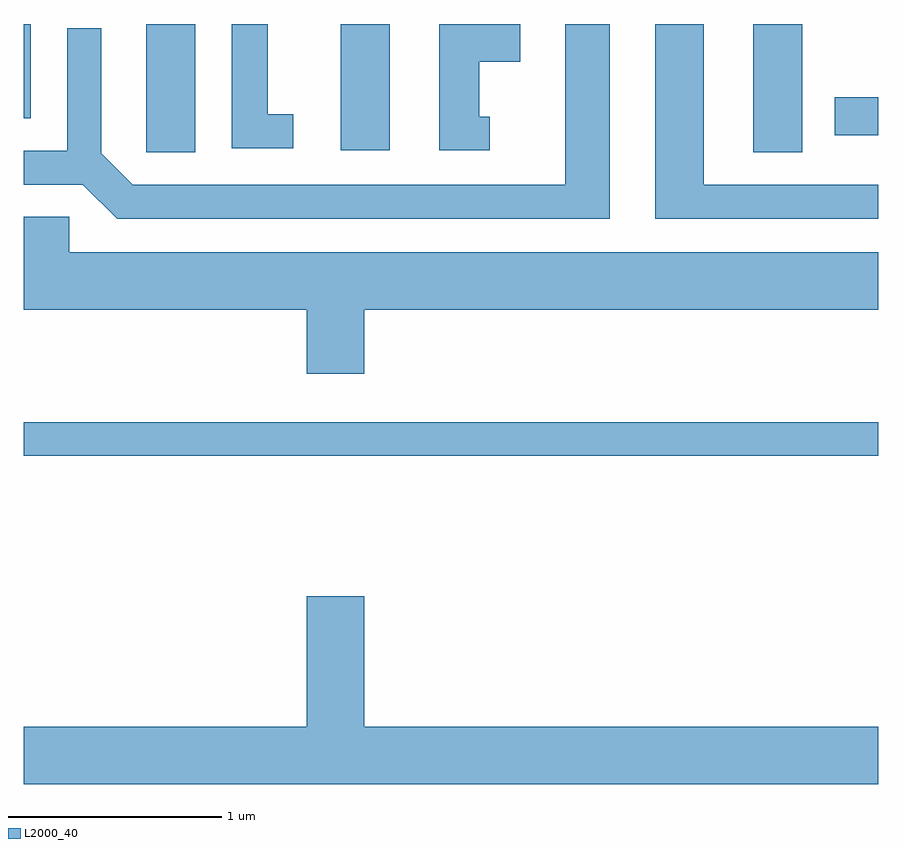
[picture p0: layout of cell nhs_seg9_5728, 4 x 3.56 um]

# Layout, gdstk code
import gdstk
lib = gdstk.Library(unit=1e-6, precision=1e-09)
def R(c, l, rs):  # rectangles x0, y0, x1, y1
    for r in rs: c.add(gdstk.rectangle(r[:2], r[2:], *l))
def P(c, l, *ps):  # polygons
    for p in ps: c.add(gdstk.Polygon(p, *l))
L2000_40 = (2000, 40)

nhs_seg9_5728 = lib.new_cell('nhs_seg9_5728')
R(nhs_seg9_5728, L2000_40, [(353.611,2044.411,357.611,2044.569), (354.186,2045.831,354.414,2046.432), (357.026,2045.831,357.254,2046.432), (355.096,2045.841,355.324,2046.432), (357.406,2045.911,357.611,2046.089), (353.611,2045.991,353.644,2046.432)])
P(nhs_seg9_5728, L2000_40, [(356.354,2046.432),(356.146,2046.432),(356.146,2045.679),(354.122,2045.679),(353.974,2045.827),(353.974,2046.413),(353.816,2046.413),(353.816,2045.839),(353.611,2045.839),(353.611,2045.681),(353.889,2045.681),(354.049,2045.521),(356.354,2045.521)],
  [(354.873,2046.009),(354.754,2046.009),(354.754,2046.432),(354.586,2046.432),(354.586,2045.851),(354.873,2045.851)],
  [(357.611,2045.679),(356.794,2045.679),(356.794,2046.432),(356.566,2046.432),(356.566,2045.521),(357.611,2045.521)],
  [(355.793,2045.999),(355.744,2045.999),(355.744,2046.256),(355.934,2046.256),(355.934,2046.432),(355.556,2046.432),(355.556,2045.841),(355.793,2045.841)],
  [(355.204,2045.096),(357.611,2045.096),(357.611,2045.364),(353.824,2045.364),(353.824,2045.529),(353.611,2045.529),(353.611,2045.096),(354.936,2045.096),(354.936,2044.796),(355.204,2044.796)],
  [(357.611,2043.144),(355.204,2043.144),(355.204,2043.754),(354.936,2043.754),(354.936,2043.144),(353.611,2043.144),(353.611,2042.876),(357.611,2042.876)])

lib.write_gds('nhs_seg9_5728.gds')
